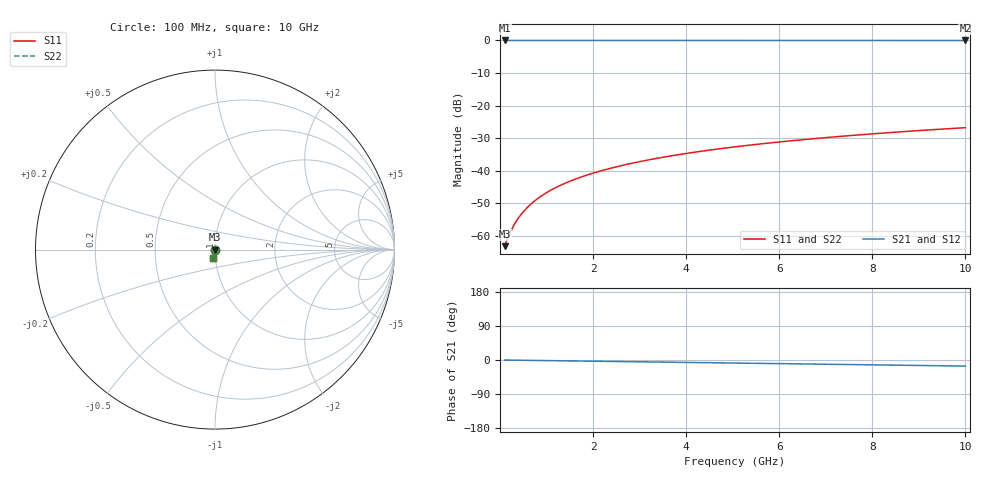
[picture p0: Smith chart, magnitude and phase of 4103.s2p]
# Hz S RI R 50.00
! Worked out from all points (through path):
!   100 points, 100 MHz to 10 GHz, reference 50 ohm
!   highest |S21| = 0.00 dB at 100 MHz (marker M1); lowest = 0.0 dB at 10 GHz (marker M2)
!   group delay of S21, straight-line fit = 4.46 ps
!   lowest |S11| = -63.1 dB at 100 MHz (marker M3), VSWR 1.00, Z = 50.1 - j0.0461 ohm
!   |S11| at or under -10 dB: start of sweep to end of sweep
!   |S22| runs from -63.1 to -26.8 dB; largest |S21 - S12| = 0
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1e8  0.000528 -0.000461  0.9995 -0.00277  0.9995 -0.00277  0.000528 -0.000461
2e8  0.000526 -0.000922  0.9994 -0.00554  0.9994 -0.00554  0.000526 -0.000922
3e8  0.000521 -0.00138  0.9994 -0.00831  0.9994 -0.00831  0.000521 -0.00138
4e8  0.000512 -0.00184  0.9994 -0.0111  0.9994 -0.0111  0.000512 -0.00184
5e8  0.000501 -0.00231  0.9994 -0.0138  0.9994 -0.0138  0.000501 -0.00231
6e8  0.000487 -0.00277  0.9993 -0.0166  0.9993 -0.0166  0.000487 -0.00277
7e8  0.000471 -0.00323  0.9993 -0.0194  0.9993 -0.0194  0.000471 -0.00323
9e8  0.000429 -0.00415  0.9991 -0.0249  0.9991 -0.0249  0.000429 -0.00415
1e9  0.000405 -0.00461  0.999 -0.0277  0.999 -0.0277  0.000405 -0.00461
1.2e9  0.000348 -0.00553  0.9989 -0.0332  0.9989 -0.0332  0.000348 -0.00553
1.5e9  0.000243 -0.00692  0.9985 -0.0416  0.9985 -0.0416  0.000243 -0.00692
1.8e9  0.000114 -0.0083  0.9981 -0.0499  0.9981 -0.0499  0.000114 -0.0083
2.1e9  -3.81e-05 -0.00969  0.9977 -0.0582  0.9977 -0.0582  -3.81e-05 -0.00969
2.5e9  -0.000277 -0.0115  0.9969 -0.0693  0.9969 -0.0693  -0.000277 -0.0115
2.9e9  -0.000558 -0.0134  0.9961 -0.0804  0.9961 -0.0804  -0.000558 -0.0134
3.4e9  -0.000967 -0.0157  0.9948 -0.0942  0.9948 -0.0942  -0.000967 -0.0157
4.2e9  -0.00176 -0.0193  0.9924 -0.1164  0.9924 -0.1164  -0.00176 -0.0193
5.1e9  -0.00284 -0.0234  0.989 -0.1414  0.989 -0.1414  -0.00284 -0.0234
5.9e9  -0.00398 -0.027  0.9855 -0.1635  0.9855 -0.1635  -0.00398 -0.027
6.7e9  -0.00528 -0.0305  0.9814 -0.1856  0.9814 -0.1856  -0.00528 -0.0305
8.4e9  -0.00856 -0.0378  0.9711 -0.2324  0.9711 -0.2324  -0.00856 -0.0378
1e10  -0.0123 -0.0443  0.9592 -0.2761  0.9592 -0.2761  -0.0123 -0.0443
